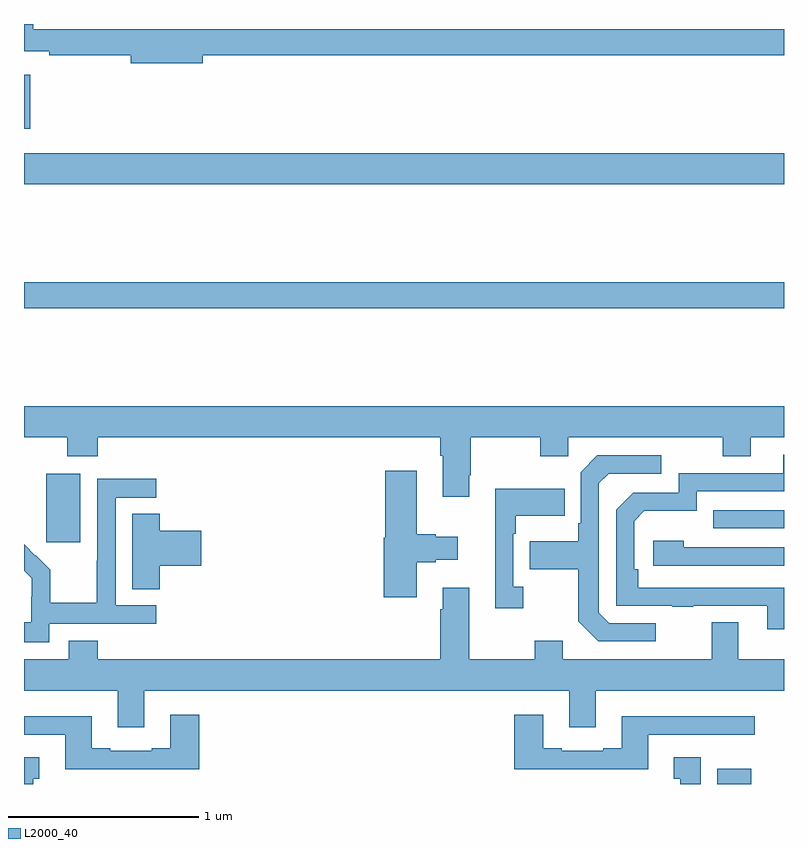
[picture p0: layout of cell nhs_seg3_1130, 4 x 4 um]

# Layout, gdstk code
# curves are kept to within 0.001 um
import gdstk
lib = gdstk.Library(unit=1e-6, precision=1e-09)
def R(c, l, rs):  # rectangles x0, y0, x1, y1
    for r in rs: c.add(gdstk.rectangle(r[:2], r[2:], *l))
def P(c, l, *ps):  # polygons
    for p in ps: c.add(gdstk.Polygon(p, *l))
L2000_40 = (2000, 40)

nhs_seg3_1130 = lib.new_cell('nhs_seg3_1130')
R(nhs_seg3_1130, L2000_40, [(172.649,724.4,172.828,724.48), (169.118,725.673,169.297,726.034), (172.627,725.745,173,725.841), (169,726.904,173,727.04), (169,727.556,173,727.72), (169,727.848,169.034,728.134)])
P(nhs_seg3_1130, L2000_40, [(169.942,728.236),(173,728.236),(173,728.372),(169.049,728.372),(169.049,728.4),(169,728.4),(169,728.256),(169.132,728.256),(169.132,728.236),(169.562,728.236),(169.562,728.194),(169.942,728.194)],
  [(171.343,726.025),(171.351,726.025),(171.351,726.224),(171.718,726.224),(171.718,726.125),(171.864,726.125),(171.864,726.224),(172.678,726.224),(172.678,726.125),(172.825,726.125),(172.825,726.224),(173,726.224),(173,726.388),(169,726.388),(169,726.224),(169.228,726.224),(169.228,726.125),(169.388,726.125),(169.388,726.224),(171.191,726.224),(171.191,726.128),(171.203,726.128),(171.203,725.913),(171.343,725.913)],
  [(173,725.432),(172.232,725.433),(172.232,725.53),(172.212,725.53),(172.212,725.784),(172.265,725.837),(172.542,725.837),(172.542,725.94),(173,725.94),(173,726.132),(172.997,726.132),(172.997,726.036),(172.446,726.036),(172.446,725.934),(172.206,725.934),(172.116,725.844),(172.116,725.337),(172.411,725.337),(172.411,725.332),(172.523,725.332),(172.523,725.337),(172.913,725.337),(172.913,725.214),(173,725.214)],
  [(172.324,725.247),(172.08,725.247),(172.026,725.301),(172.026,725.982),(172.077,726.033),(172.354,726.033),(172.354,726.129),(172.017,726.129),(171.93,726.042),(171.93,725.773),(171.918,725.773),(171.918,725.677),(171.661,725.677),(171.661,725.53),(171.918,725.53),(171.918,725.257),(172.023,725.151),(172.324,725.151)],
  [(171.067,725.567),(171.167,725.567),(171.167,725.579),(171.283,725.579),(171.283,725.701),(171.167,725.701),(171.167,725.714),(171.067,725.714),(171.067,726.049),(170.9,726.049),(170.9,725.697),(170.894,725.697),(170.894,725.382),(171.067,725.382)],
  [(169.134,725.244),(169.696,725.244),(169.696,725.34),(169.482,725.34),(169.482,725.907),(169.696,725.907),(169.696,726.006),(169.386,726.006),(169.386,725.576),(169.384,725.576),(169.384,725.353),(169.139,725.353),(169.139,725.527),(169.062,725.604),(169.059,725.601),(169,725.661),(169,725.522),(169.04,725.482),(169.04,725.385),(169.038,725.385),(169.038,725.251),(169,725.251),(169,725.147),(169.134,725.147)],
  [(171.628,725.438),(171.576,725.438),(171.576,725.717),(171.589,725.717),(171.589,725.813),(171.845,725.813),(171.845,725.953),(171.479,725.953),(171.479,725.325),(171.628,725.325)],
  [(169.715,725.549),(169.933,725.549),(169.933,725.732),(169.715,725.732),(169.715,725.822),(169.571,725.822),(169.571,725.425),(169.715,725.425)],
  [(173,725.646),(172.472,725.646),(172.472,725.68),(172.311,725.68),(172.311,725.55),(173,725.55)],
  [(169.633,724.892),(171.869,724.892),(171.869,724.698),(172.009,724.698),(172.009,724.892),(173,724.892),(173,725.056),(172.759,725.056),(172.759,725.251),(172.619,725.251),(172.619,725.056),(171.835,725.056),(171.835,725.155),(171.688,725.155),(171.688,725.056),(171.343,725.056),(171.343,725.434),(171.203,725.434),(171.203,725.321),(171.191,725.321),(171.191,725.056),(169.388,725.056),(169.388,725.155),(169.235,725.155),(169.235,725.056),(169,725.056),(169,724.892),(169.493,724.892),(169.493,724.698),(169.633,724.698)],
  [(169.922,724.765),(169.769,724.765),(169.769,724.588),(169.673,724.588),(169.673,724.575),(169.453,724.575),(169.453,724.588),(169.357,724.588),(169.357,724.756),(169,724.756),(169,724.659),(169.217,724.659),(169.217,724.478),(169.922,724.478)],
  [(172.285,724.659),(172.846,724.659),(172.846,724.756),(172.145,724.756),(172.145,724.588),(172.049,724.588),(172.049,724.575),(171.829,724.575),(171.829,724.588),(171.733,724.588),(171.733,724.765),(171.581,724.765),(171.581,724.478),(172.285,724.478)],
  [(172.561,724.54),(172.421,724.54),(172.421,724.427),(172.454,724.427),(172.454,724.4),(172.561,724.4)],
  [(169.048,724.427),(169.081,724.427),(169.081,724.54),(169,724.54),(169,724.4),(169.048,724.4)])

lib.write_gds('nhs_seg3_1130.gds')
